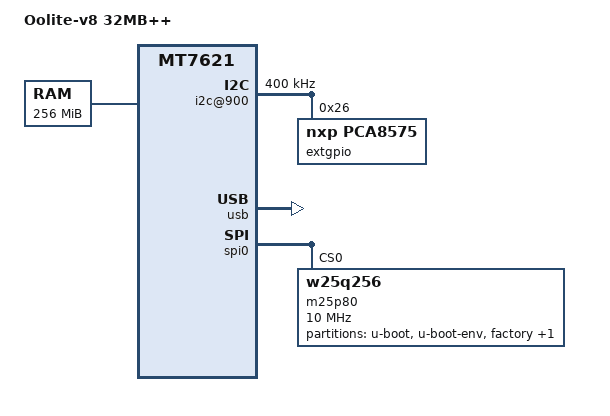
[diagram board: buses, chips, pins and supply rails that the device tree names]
/dts-v1/;

#include "mt7621.dtsi"

/ {
	compatible = "mediatek,mt7621-eval-board", "mediatek,mt7621-soc";
	model = "Oolite-v8 32MB++";

	memory@0 {
		device_type = "memory";
		reg = <0x0 0x10000000>;
	};

	chosen {
		bootargs = "console=ttyS0,57600 rd_start=0x88000000 rd_size=0x01000000";
	};

        palmbus: palmbus@1e000000 {
		i2c@900 {
			status = "okay";
			clock-frequency = <400000>;

			extgpio: pca8575@26 {
				compatible = "nxp,pca8575";
				reg = <0x26>;
				gpio-controller;
				#gpio-cells = <2>;
			};
		};
	};
};

&usb {
	status = "okay";
};

&spi0 {
	m25p80@0 {
		#address-cells = <1>;
		#size-cells = <1>;
		compatible = "w25q256";
		reg = <0>;
		linux,modalias = "m25p80";
		spi-max-frequency = <10000000>;

		partition@0 {
			label = "u-boot";
			reg = <0x0 0x30000>;
			read-only;
		};

		partition@30000 {
			label = "u-boot-env";
			reg = <0x30000 0x10000>;
			read-only;
		};

		factory: partition@40000 {
			label = "factory";
			reg = <0x40000 0x10000>;
			read-only;
		};

		partition@50000 {
			label = "flash";
			reg = <0x50000 0x1fb0000>;
		};
	};
};

&ethernet {
	mtd-mac-address = <&factory 0x04>;
};

&pinctrl {
	state_default: pinctrl0 {
		gpio {
			groups = "uart2", "rgmii2";
			function = "gpio";
		};
	};
};
